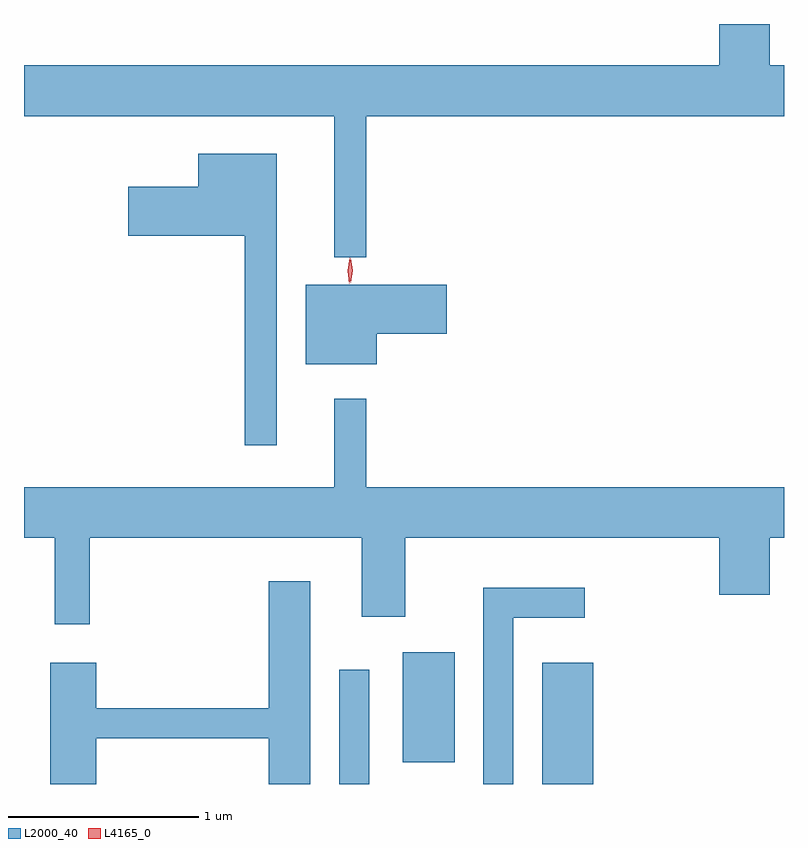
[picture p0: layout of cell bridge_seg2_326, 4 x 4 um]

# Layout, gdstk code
import gdstk
lib = gdstk.Library(unit=1e-6, precision=1e-09)
def R(c, l, rs):  # rectangles x0, y0, x1, y1
    for r in rs: c.add(gdstk.rectangle(r[:2], r[2:], *l))
def P(c, l, *ps):  # polygons
    for p in ps: c.add(gdstk.Polygon(p, *l))
L2000_40 = (2000, 40)
L4165_0 = (4165, 0)

bridge_seg2_326 = lib.new_cell('bridge_seg2_326')
R(bridge_seg2_326, L2000_40, [(352.936,982.641,353.094,983.243), (354.006,982.641,354.274,983.279), (353.271,982.756,353.544,983.334)])
P(bridge_seg2_326, L2000_40, [(354.936,986.641),(354.936,986.424),(351.278,986.424),(351.278,986.156),(352.911,986.156),(352.911,985.413),(353.079,985.413),(353.079,986.156),(355.278,986.156),(355.278,986.424),(355.204,986.424),(355.204,986.641)],
  [(352.609,985.959),(352.196,985.959),(352.196,985.784),(351.826,985.784),(351.826,985.526),(352.441,985.526),(352.441,984.423),(352.609,984.423)],
  [(353.134,985.011),(353.504,985.011),(353.504,985.269),(352.761,985.269),(352.761,984.851),(353.134,984.851)],
  [(351.624,983.936),(353.056,983.936),(353.056,983.521),(353.284,983.521),(353.284,983.936),(354.936,983.936),(354.936,983.636),(355.204,983.636),(355.204,983.936),(355.278,983.936),(355.278,984.204),(353.079,984.204),(353.079,984.668),(352.911,984.668),(352.911,984.204),(351.278,984.204),(351.278,983.936),(351.441,983.936),(351.441,983.481),(351.624,983.481)],
  [(351.659,982.881),(352.566,982.881),(352.566,982.641),(352.784,982.641),(352.784,983.709),(352.566,983.709),(352.566,983.039),(351.659,983.039),(351.659,983.279),(351.416,983.279),(351.416,982.641),(351.659,982.641)],
  [(353.854,983.516),(354.228,983.516),(354.228,983.674),(353.696,983.674),(353.696,982.641),(353.854,982.641)])
P(bridge_seg2_326, L4165_0, [(352.997,985.28),(352.997,985.28),(352.988,985.344),(352.997,985.406),(352.997,985.407),(352.998,985.406),(353.007,985.344),(352.998,985.28)],
  [(352.99,985.274),(352.99,985.274),(352.981,985.342),(352.992,985.41),(352.992,985.41),(352.993,985.41),(353.001,985.342),(352.991,985.274)])

lib.write_gds('bridge_seg2_326.gds')
